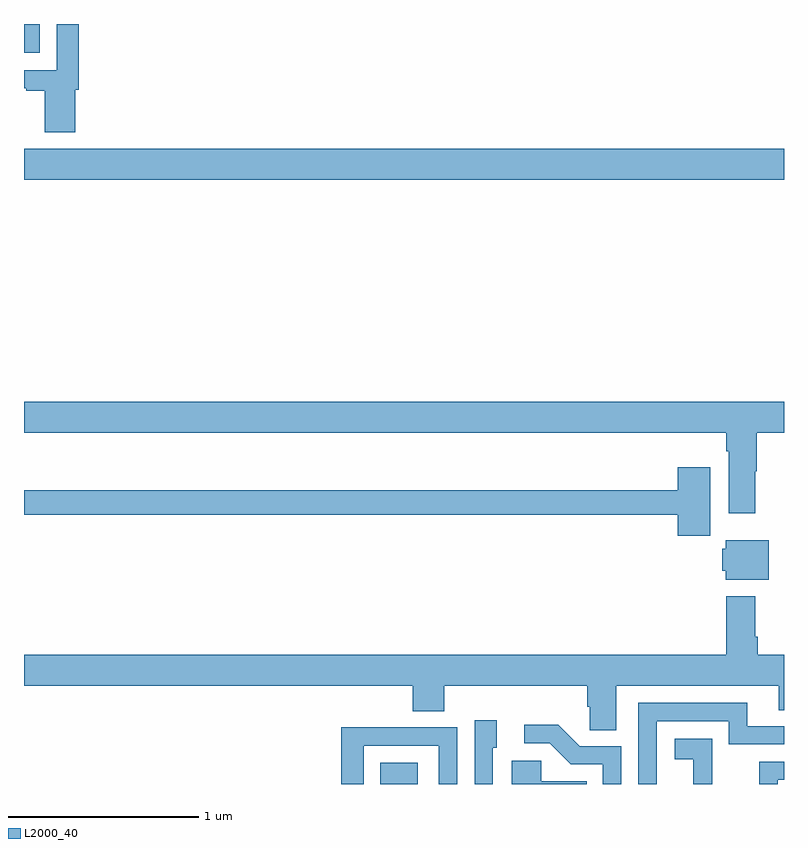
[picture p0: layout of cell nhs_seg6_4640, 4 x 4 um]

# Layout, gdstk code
import gdstk
lib = gdstk.Library(unit=1e-6, precision=1e-09)
def R(c, l, rs):  # rectangles x0, y0, x1, y1
    for r in rs: c.add(gdstk.rectangle(r[:2], r[2:], *l))
def P(c, l, *ps):  # polygons
    for p in ps: c.add(gdstk.Polygon(p, *l))
L2000_40 = (2000, 40)

nhs_seg6_4640 = lib.new_cell('nhs_seg6_4640')
R(nhs_seg6_4640, L2000_40, [(386.876,933.5,387.073,933.613), (385,936.68,389,936.844), (385,937.349,385.084,937.5)])
P(nhs_seg6_4640, L2000_40, [(385.27,937.154),(385.289,937.154),(385.289,937.5),(385.173,937.5),(385.173,937.257),(385,937.257),(385,937.161),(385.013,937.161),(385.013,937.149),(385.109,937.149),(385.109,936.93),(385.27,936.93)],
  [(388.849,935.146),(388.857,935.146),(388.857,935.348),(389,935.348),(389,935.512),(385,935.512),(385,935.348),(388.697,935.348),(388.697,935.252),(388.709,935.252),(388.709,934.926),(388.849,934.926)],
  [(388.612,935.167),(388.442,935.167),(388.442,935.047),(385,935.047),(385,934.918),(388.442,934.918),(388.442,934.806),(388.612,934.806)],
  [(388.921,934.783),(388.694,934.783),(388.694,934.737),(388.676,934.737),(388.676,934.623),(388.694,934.623),(388.694,934.574),(388.921,934.574)],
  [(388.117,934.016),(388.973,934.016),(388.973,933.889),(389,933.889),(389,934.18),(388.862,934.18),(388.862,934.276),(388.849,934.276),(388.849,934.489),(388.697,934.489),(388.697,934.18),(385,934.18),(385,934.016),(387.047,934.016),(387.047,933.883),(387.212,933.883),(387.212,934.016),(387.965,934.016),(387.965,933.907),(387.978,933.907),(387.978,933.784),(388.117,933.784)],
  [(388.329,933.831),(388.71,933.831),(388.71,933.708),(389,933.708),(389,933.804),(388.807,933.804),(388.807,933.927),(388.233,933.927),(388.233,933.5),(388.329,933.5)],
  [(387.468,933.69),(387.487,933.69),(387.487,933.835),(387.372,933.835),(387.372,933.5),(387.468,933.5)],
  [(388.143,933.699),(387.924,933.699),(387.811,933.812),(387.633,933.812),(387.633,933.714),(387.767,933.714),(387.878,933.603),(388.047,933.603),(388.047,933.5),(388.143,933.5)],
  [(386.787,933.702),(387.183,933.702),(387.183,933.5),(387.279,933.5),(387.279,933.798),(386.963,933.798),(386.963,933.8),(386.671,933.8),(386.671,933.5),(386.787,933.5)],
  [(388.622,933.533),(388.623,933.533),(388.623,933.739),(388.425,933.739),(388.425,933.629),(388.523,933.629),(388.523,933.5),(388.622,933.5)],
  [(387.962,933.514),(387.723,933.514),(387.723,933.622),(387.566,933.622),(387.566,933.5),(387.962,933.5)],
  [(388.968,933.522),(389,933.522),(389,933.618),(388.87,933.618),(388.87,933.5),(388.968,933.5)])

lib.write_gds('nhs_seg6_4640.gds')
